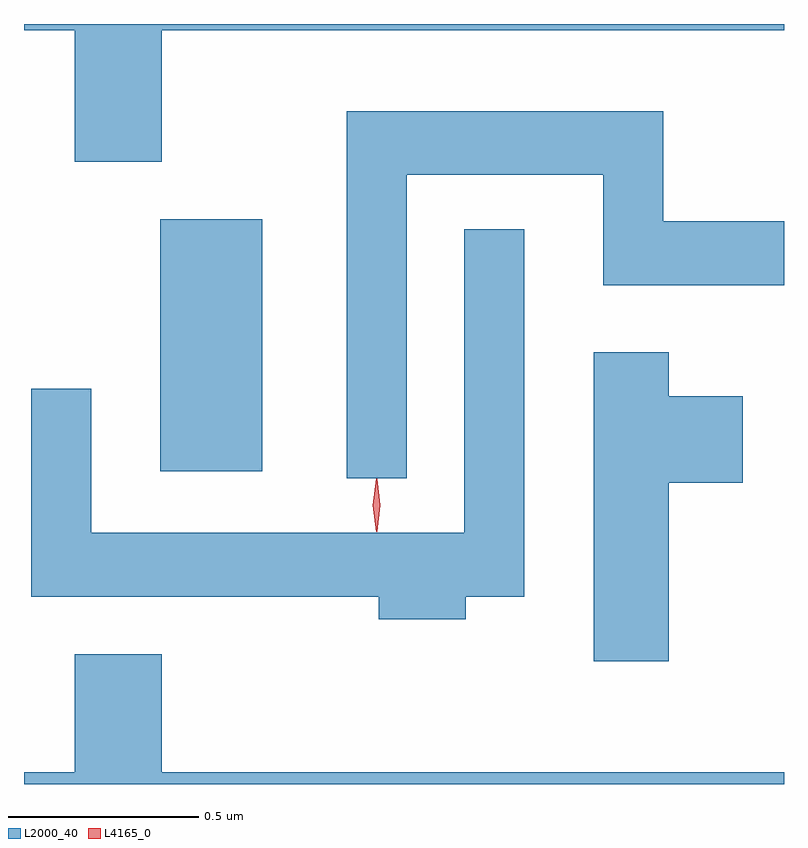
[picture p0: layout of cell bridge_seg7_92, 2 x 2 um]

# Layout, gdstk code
import gdstk
lib = gdstk.Library(unit=1e-6, precision=1e-09)
def R(c, l, rs):  # rectangles x0, y0, x1, y1
    for r in rs: c.add(gdstk.rectangle(r[:2], r[2:], *l))
def P(c, l, *ps):  # polygons
    for p in ps: c.add(gdstk.Polygon(p, *l))
L2000_40 = (2000, 40)
L4165_0 = (4165, 0)

bridge_seg7_92 = lib.new_cell('bridge_seg7_92')
R(bridge_seg7_92, L2000_40, [(1598.326,1801.956,1598.594,1802.619)])
P(bridge_seg7_92, L2000_40, [(1598.329,1803.116),(1599.967,1803.116),(1599.967,1803.133),(1597.967,1803.133),(1597.967,1803.116),(1598.101,1803.116),(1598.101,1802.771),(1598.329,1802.771)],
  [(1598.974,1802.736),(1599.491,1802.736),(1599.491,1802.446),(1599.967,1802.446),(1599.967,1802.614),(1599.649,1802.614),(1599.649,1802.904),(1598.816,1802.904),(1598.816,1801.938),(1598.974,1801.938)],
  [(1599.129,1801.626),(1599.284,1801.626),(1599.284,1802.593),(1599.126,1802.593),(1599.126,1801.794),(1598.144,1801.794),(1598.144,1802.173),(1597.986,1802.173),(1597.986,1801.626),(1598.901,1801.626),(1598.901,1801.566),(1599.129,1801.566)],
  [(1599.664,1801.926),(1599.859,1801.926),(1599.859,1802.154),(1599.664,1802.154),(1599.664,1802.269),(1599.466,1802.269),(1599.466,1801.456),(1599.664,1801.456)],
  [(1599.967,1801.164),(1598.329,1801.164),(1598.329,1801.474),(1598.101,1801.474),(1598.101,1801.164),(1597.967,1801.164),(1597.967,1801.133),(1599.967,1801.133)])
P(bridge_seg7_92, L4165_0, [(1598.894,1801.797),(1598.885,1801.866),(1598.894,1801.936),(1598.895,1801.936),(1598.896,1801.936),(1598.905,1801.866),(1598.896,1801.797),(1598.895,1801.797)])

lib.write_gds('bridge_seg7_92.gds')
